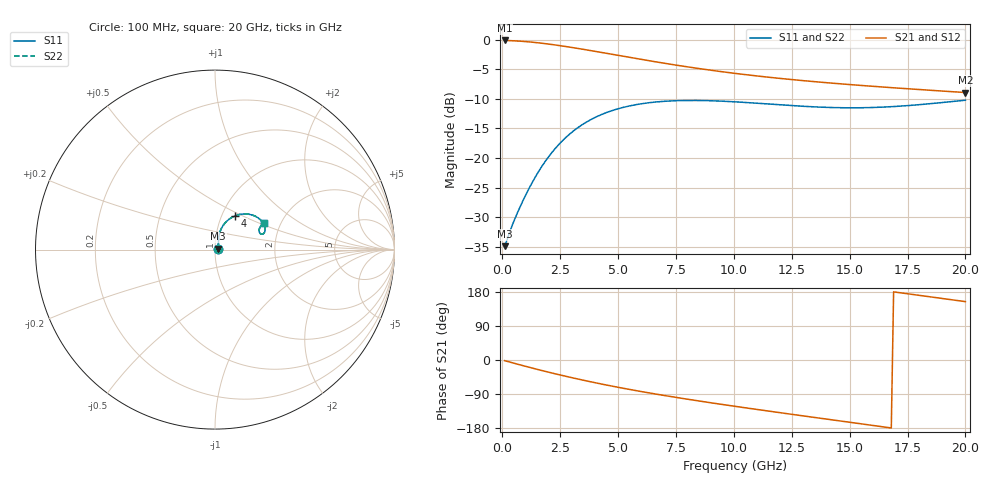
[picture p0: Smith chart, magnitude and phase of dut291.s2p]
! Touchstone file exported from HFSS 2024.1.0
!  File:  C:/UserFiles/LocalFiles/RDL_TSV_Batchsim/temp_RDL_TSV_291_1779467217.aedt
!  Generated:  12:45:40 AM May 23, 2026
!  Design:  RDL_TSV
!  Project:  temp_RDL_TSV_291_1779467217
!  Setup:  Setup1
!  Solution:  Sweep
! Variables:
!  dtsv = 7.57um
!  hbump = 3um
!  htsv = 70.47um
!  ldown = 520.2um
!  lrdl = 371.66um
!  p = 40
!  p1 = 47.01um
!  rhole = 10um
!  subl = 3047.24um
!  t = 450um
!  tdown = 4.44um
!  trdl = 2.67um
!  viad = 10um
!  wdown = 16.94um
!  wrdl = 22.1um
!  xbump = 18um
# GHz S MA R 50.000000
! Terminal data exported
! Port[1] = TM1_1_T1
! Port[2] = TM1_4_T1
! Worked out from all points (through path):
!   200 points, 100 MHz to 20 GHz, reference 50 ohm
!   highest |S21| = -0.15 dB at 100 MHz (marker M1); lowest = -8.9 dB at 20 GHz (marker M2)
!   group delay of S21, straight-line fit = 27 ps
!   lowest |S11| = -34.9 dB at 100 MHz (marker M3), VSWR 1.04, Z = 51.8 + j0.514 ohm
!   |S11| at or under -10 dB: start of sweep to end of sweep
!   |S22| runs from -34.9 to -10.2 dB; largest |S21 - S12| = 5.2e-14
!   S11 on the Smith chart (normalised r, x): 100 MHz: 1.04, +0.01; 4 GHz: 1.16, +0.46; 20 GHz: 1.64, +0.53
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0.1  0.01809 15.9  0.9824 -1.7  0.9824 -1.7  0.01809 15.9
! Gamma 0 0 0 0
! Port Impedance 50 0 50 0
0.5  0.02935 49.3  0.9758 -8.5  0.9758 -8.5  0.02935 49.4
0.8  0.04002 61.3  0.9679 -13.4  0.9679 -13.4  0.04002 61.3
1.3  0.0627 71.6  0.9498 -21.4  0.9498 -21.4  0.0627 71.6
1.7  0.0847 74.3  0.9314 -27.7  0.9314 -27.7  0.08471 74.4
2.1  0.1089 74.1  0.9105 -33.7  0.9105 -33.7  0.1089 74.2
2.5  0.134 72.2  0.8878 -39.6  0.8878 -39.6  0.1341 72.2
3  0.1651 68.4  0.8578 -46.6  0.8578 -46.6  0.1651 68.4
3.5  0.194 63.8  0.8269 -53.4  0.8269 -53.4  0.1941 63.8
4  0.2199 59.0  0.7959 -59.9  0.7959 -59.9  0.22 59.0
4.6  0.2462 53.3  0.7594 -67.3  0.7594 -67.3  0.2464 53.3
5.2  0.2671 47.9  0.7242 -74.3  0.7242 -74.3  0.2673 47.9
6  0.2872 41.3  0.6802 -83.3  0.6802 -83.3  0.2874 41.4
6.8  0.2994 35.6  0.6403 -91.7  0.6403 -91.7  0.2997 35.6
8.4  0.3064 26.6  0.5726 -107.3  0.5726 -107.3  0.3066 26.7
10.1  0.298 20.7  0.5169 -122.7  0.5169 -122.7  0.2983 20.8
11.7  0.2842 18.2  0.4765 -136.5  0.4765 -136.5  0.2845 18.3
13.4  0.271 18.6  0.4428 -150.9  0.4428 -150.9  0.2713 18.6
15  0.2656 21.0  0.4172 -164.3  0.4172 -164.3  0.266 21.1
16.7  0.2708 24.5  0.3943 -178.5  0.3943 -178.5  0.2712 24.6
18.3  0.2856 27.1  0.3754 168.1  0.3754 168.1  0.2861 27.2
20  0.3079 28.2  0.3574 154.0  0.3574 154.0  0.3085 28.3
